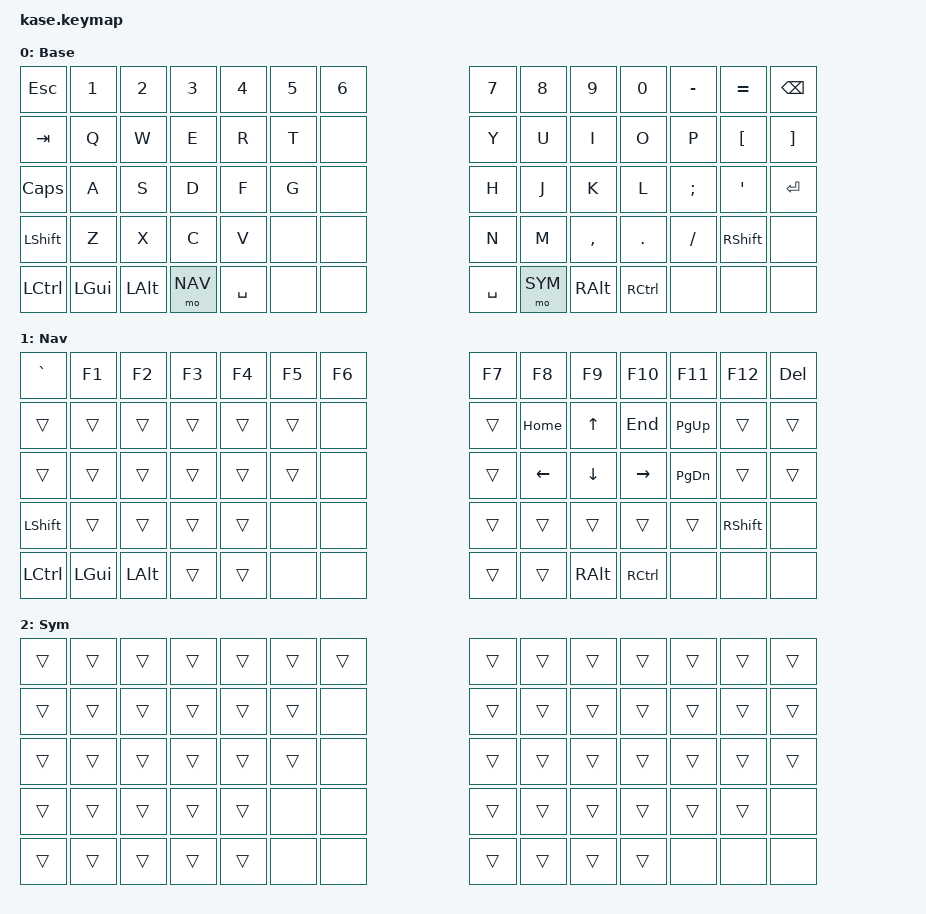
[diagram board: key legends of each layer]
/*
 * KaSe split keyboard keymap — 5 rows × 7 cols per half
 *
 * Layout (from keymap.c of original firmware):
 *
 * Left:                                       Right:
 *   ESC  1    2    3    4    5    6     |     7    8    9    0    -    =    BSPC
 *   TAB  Q    W    E    R    T    ·     |     Y    U    I    O    P    [    ]
 *   CAP  A    S    D    F    G    ·     |     H    J    K    L    ;    '    ENT
 *   SFT  Z    X    C    V    ·    ·     |     N    M    ,    .    /    SFT  ·
 *   CTL  GUI  ALT  LY1  SPC  ·    ·     |     SPC  LY2  ALT  CTL  ·    ·    ·
 *
 * · = no physical key (empty matrix position)
 */

#include <behaviors.dtsi>
#include <dt-bindings/zmk/keys.h>

#define BASE  0
#define NAV   1
#define SYM   2

/ {
    keymap {
        compatible = "zmk,keymap";

        base_layer {
            display-name = "Base";
            bindings = <
// ╭───────┬───────┬───────┬───────┬───────┬───────┬───────╮ ╭───────┬───────┬───────┬───────┬───────┬───────┬───────╮
    &kp ESC &kp N1  &kp N2  &kp N3  &kp N4  &kp N5  &kp N6    &kp N7  &kp N8  &kp N9  &kp N0 &kp MINUS &kp EQUAL &kp BSPC
// ├───────┼───────┼───────┼───────┼───────┼───────┼───────┤ ├───────┼───────┼───────┼───────┼───────┼───────┼───────┤
    &kp TAB &kp Q   &kp W   &kp E   &kp R   &kp T   &none     &kp Y   &kp U   &kp I   &kp O   &kp P  &kp LBKT &kp RBKT
// ├───────┼───────┼───────┼───────┼───────┼───────┼───────┤ ├───────┼───────┼───────┼───────┼───────┼───────┼───────┤
   &kp CAPS &kp A   &kp S   &kp D   &kp F   &kp G   &none     &kp H   &kp J   &kp K   &kp L  &kp SEMI &kp SQT &kp RET
// ├───────┼───────┼───────┼───────┼───────┼───────┼───────┤ ├───────┼───────┼───────┼───────┼───────┼───────┼───────┤
   &kp LSHFT &kp Z  &kp X   &kp C   &kp V   &none   &none     &kp N   &kp M  &kp COMMA &kp DOT &kp FSLH &kp RSHFT &none
// ├───────┼───────┼───────┼───────┼───────┼───────┼───────┤ ├───────┼───────┼───────┼───────┼───────┼───────┼───────┤
   &kp LCTRL &kp LGUI &kp LALT &mo NAV &kp SPACE &none &none  &kp SPACE &mo SYM &kp RALT &kp RCTRL &none &none &none
// ╰───────┴───────┴───────┴───────┴───────┴───────┴───────╯ ╰───────┴───────┴───────┴───────┴───────┴───────┴───────╯
            >;
        };

        nav_layer {
            display-name = "Nav";
            bindings = <
    &kp GRAVE &kp F1 &kp F2  &kp F3  &kp F4  &kp F5  &kp F6    &kp F7  &kp F8  &kp F9  &kp F10 &kp F11 &kp F12 &kp DEL
    &trans  &trans  &trans  &trans  &trans  &trans  &none      &trans &kp HOME &kp UP  &kp END &kp PG_UP &trans &trans
    &trans  &trans  &trans  &trans  &trans  &trans  &none      &trans &kp LEFT &kp DOWN &kp RIGHT &kp PG_DN &trans &trans
   &kp LSHFT &trans &trans  &trans  &trans  &none   &none      &trans  &trans  &trans  &trans  &trans &kp RSHFT &none
   &kp LCTRL &kp LGUI &kp LALT &trans &trans &none  &none      &trans  &trans &kp RALT &kp RCTRL &none &none &none
            >;
        };

        sym_layer {
            display-name = "Sym";
            bindings = <
    &trans  &trans  &trans  &trans  &trans  &trans  &trans     &trans  &trans  &trans  &trans  &trans  &trans  &trans
    &trans  &trans  &trans  &trans  &trans  &trans  &none      &trans  &trans  &trans  &trans  &trans  &trans  &trans
    &trans  &trans  &trans  &trans  &trans  &trans  &none      &trans  &trans  &trans  &trans  &trans  &trans  &trans
    &trans  &trans  &trans  &trans  &trans  &none   &none      &trans  &trans  &trans  &trans  &trans  &trans  &none
    &trans  &trans  &trans  &trans  &trans  &none   &none      &trans  &trans  &trans  &trans  &none   &none   &none
            >;
        };
    };
};
